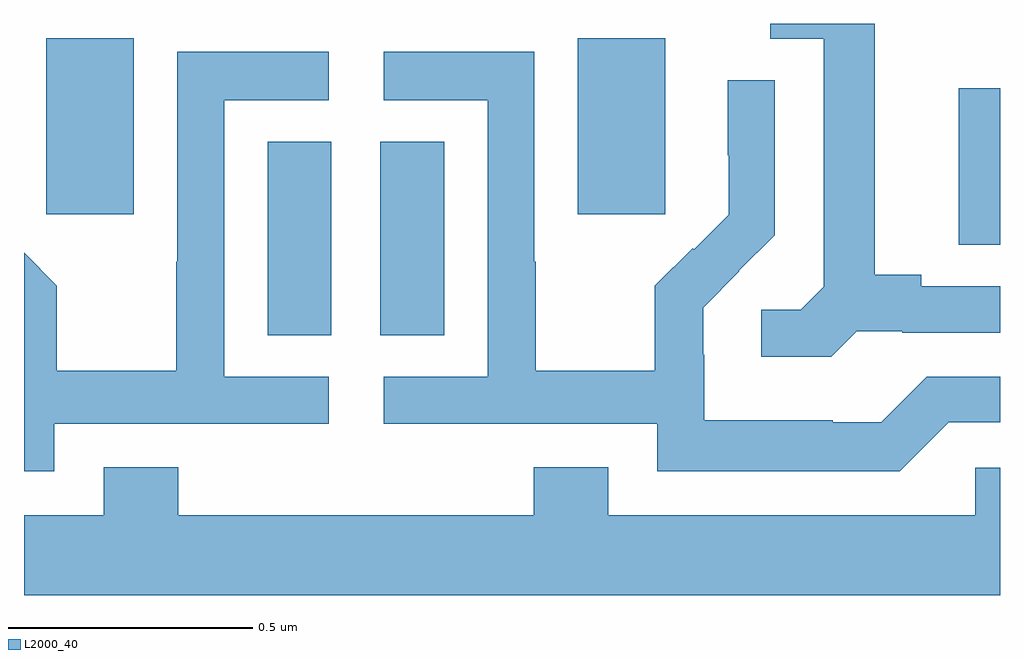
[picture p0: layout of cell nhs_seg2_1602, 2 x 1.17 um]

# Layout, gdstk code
import gdstk
lib = gdstk.Library(unit=1e-6, precision=1e-09)
def R(c, l, rs):  # rectangles x0, y0, x1, y1
    for r in rs: c.add(gdstk.rectangle(r[:2], r[2:], *l))
def P(c, l, *ps):  # polygons
    for p in ps: c.add(gdstk.Polygon(p, *l))
L2000_40 = (2000, 40)

nhs_seg2_1602 = lib.new_cell('nhs_seg2_1602')
R(nhs_seg2_1602, L2000_40, [(130.499,656.161,130.63,656.558), (130.73,656.161,130.861,656.558), (131.915,656.347,132,656.667), (130.046,656.409,130.225,656.77), (131.135,656.409,131.314,656.77)])
P(nhs_seg2_1602, L2000_40, [(131.706,656.169),(131.8,656.169),(131.8,656.166),(132,656.166),(132,656.262),(131.839,656.262),(131.839,656.285),(131.743,656.285),(131.743,656.8),(131.529,656.8),(131.529,656.769),(131.639,656.769),(131.639,656.261),(131.592,656.214),(131.511,656.214),(131.511,656.117),(131.654,656.117)],
  [(131.895,655.983),(132,655.983),(132,656.076),(131.85,656.076),(131.757,655.983),(131.657,655.983),(131.657,655.987),(131.394,655.987),(131.394,656.121),(131.392,656.121),(131.392,656.218),(131.466,656.292),(131.465,656.293),(131.538,656.366),(131.538,656.684),(131.442,656.684),(131.442,656.53),(131.444,656.53),(131.444,656.408),(131.373,656.337),(131.37,656.34),(131.293,656.263),(131.293,656.089),(131.049,656.089),(131.049,656.312),(131.046,656.312),(131.046,656.742),(130.737,656.742),(130.737,656.643),(130.95,656.643),(130.95,656.076),(130.737,656.076),(130.737,655.98),(131.298,655.98),(131.298,655.883),(131.795,655.883)],
  [(130.062,655.98),(130.624,655.98),(130.624,656.076),(130.41,656.076),(130.41,656.643),(130.624,656.643),(130.624,656.742),(130.314,656.742),(130.314,656.312),(130.312,656.312),(130.312,656.089),(130.067,656.089),(130.067,656.263),(130,656.33),(130,655.883),(130.062,655.883)],
  [(132,655.89),(131.949,655.89),(131.949,655.792),(131.197,655.792),(131.197,655.891),(131.045,655.891),(131.045,655.792),(130.316,655.792),(130.316,655.891),(130.163,655.891),(130.163,655.792),(130,655.792),(130,655.628),(132,655.628)])

lib.write_gds('nhs_seg2_1602.gds')
